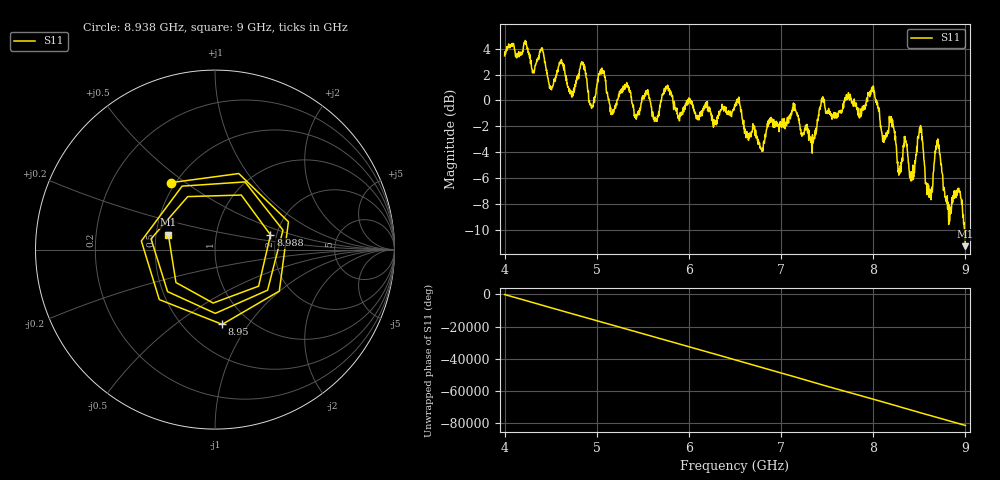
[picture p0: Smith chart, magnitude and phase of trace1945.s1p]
! Created with skrf 1.8.0 (http://scikit-rf.org).
# Hz S RI R 50.0
!freq ReS11 ImS11
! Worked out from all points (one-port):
!   1601 points, 4 GHz to 9 GHz, reference 50 ohm
!   lowest |S11| = -11.3 dB at 9 GHz (marker M1), VSWR 1.75, Z = 29 + j5.25 ohm
!   |S11| at or under -10 dB: 8.991133 GHz to end of sweep
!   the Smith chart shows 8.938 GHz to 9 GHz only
!   S11 on the Smith chart (normalised r, x): 8.938 GHz: 0.47, +0.44; 8.95 GHz: 0.75, -0.76; 8.988 GHz: 1.85, +0.34; 9 GHz: 0.58, +0.10
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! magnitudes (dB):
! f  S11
! 4 GHz  3.5
! 4.506 GHz  0.9
! 4.625 GHz  2.9
! 4.722 GHz  0.5
! 4.85 GHz  2.8
! 4.941 GHz  -0.5
! 5.047 GHz  2.4
! 5.162 GHz  -1.0
! 5.25 GHz  0.5
! 5.875 GHz  -1.0
! 6.5 GHz  -0.5
! 6.784 GHz  -3.8
! 7.125 GHz  -0.6
! 7.341 GHz  -2.6
! 7.444 GHz  0.2
! 7.75 GHz  0.5
! 7.991 GHz  0.9
! 8.281 GHz  -5.3
! 8.375 GHz  -4.3
! 8.422 GHz  -5.8
! 8.509 GHz  -2.5
! 8.606 GHz  -7.5
! 8.697 GHz  -3.5
! 8.812 GHz  -7.9
! 8.938 GHz  -7.0
! 8.95 GHz  -7.6
! 8.988 GHz  -9.9
! 9 GHz  -11.3
